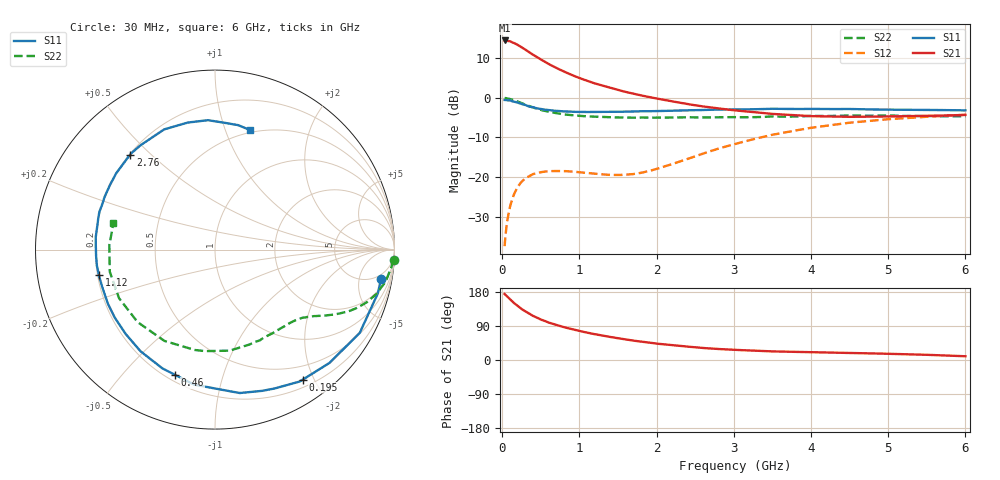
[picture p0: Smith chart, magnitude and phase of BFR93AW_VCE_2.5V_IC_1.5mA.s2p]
! (c) 2015  Infineon Technologies AG, Munich
! Infineon Technologies  Discrete & RF Semiconductors
! BFR93AW
! VCE =  2.5 V,  IC =  1.5 mA
! Common Emitter S-Parameters:  Nov 2015
# GHz  S  MA  R  50
!  f  S11  S21  S12  S22
! GHz  MAG  ANG  MAG  ANG  MAG  ANG  MAG  ANG
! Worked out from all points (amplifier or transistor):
!   206 points, 30 MHz to 6 GHz, reference 50 ohm
!   highest |S21| = 14.5 dB at 30 MHz (marker M1)
!   |S21| within 3 dB of that: start of sweep to 350.4 MHz
!   unconditionally stable (mu >= 1): 1.298 GHz to 2.481 GHz; 5.413 GHz to end of sweep
!   at 200 MHz: K = 0.14, MSG = 17.9 dB, |S12| = -22.5 dB
!   at 1.56 GHz: K = 1.17, MAG = 8.0 dB, |S12| = -19.5 dB
!   at 6 GHz: K = 1.01, MAG = -0.7 dB, |S12| = -4.3 dB
!   S11 on the Smith chart (normalised r, x): 30 MHz: 4, -10; 195 MHz: 0.30, -1.84; 460 MHz: 0.23, -0.70; 1.12 GHz: 0.21, -0.10; 2.76 GHz: 0.20, +0.43; 6 GHz: 0.47, +1.22
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0.03  0.9391 -10.1  5.294 174.1  0.0134 84.5  0.9972 -3.3
0.06  0.9327 -17.9  5.242 168.0  0.026 79.2  0.9838 -6.4
0.11  0.919 -32.8  5.112 158.4  0.0458 71.5  0.9603 -11.5
0.15  0.8975 -44.7  4.933 150.6  0.06 65.6  0.9337 -15.2
0.195  0.874 -56.0  4.677 143.3  0.0735 59.4  0.9002 -18.6
0.24  0.8419 -66.8  4.399 136.2  0.0848 53.6  0.8639 -21.6
0.3  0.811 -80.2  4.05 127.8  0.0966 47.9  0.8189 -24.9
0.4  0.7613 -98.8  3.489 116.1  0.1089 40.0  0.753 -28.8
0.46  0.7326 -107.7  3.214 110.8  0.1125 36.4  0.7221 -30.5
0.5  0.7237 -113.9  3.048 106.7  0.1151 34.2  0.7018 -31.7
0.6  0.7022 -126.2  2.669 98.9  0.1186 30.4  0.6659 -33.8
0.7  0.6846 -136.6  2.384 92.5  0.1194 28.2  0.6393 -35.9
0.82  0.6726 -147.5  2.099 85.5  0.1186 26.3  0.6138 -38.5
1.04  0.6615 -162.8  1.718 74.8  0.114 26.3  0.5881 -43.3
1.12  0.6621 -167.6  1.612 71.2  0.1121 27.1  0.5814 -45.4
1.5  0.668 174.0  1.253 57.4  0.106 37.7  0.5664 -55.0
2.02  0.6816 154.1  0.971 42.8  0.1283 58.6  0.5625 -70.6
2.76  0.7088 131.8  0.743 29.6  0.222 68.9  0.567 -94.1
3.1  0.7141 122.8  0.682 26.0  0.2748 66.9  0.5683 -104.9
4.1  0.7221 100.3  0.585 20.2  0.4307 53.2  0.5888 -140.2
5.1  0.7071 84.4  0.583 15.9  0.5441 36.7  0.5941 -170.9
6  0.6941 73.7  0.608 9.9  0.6105 23.9  0.5845 165.4
